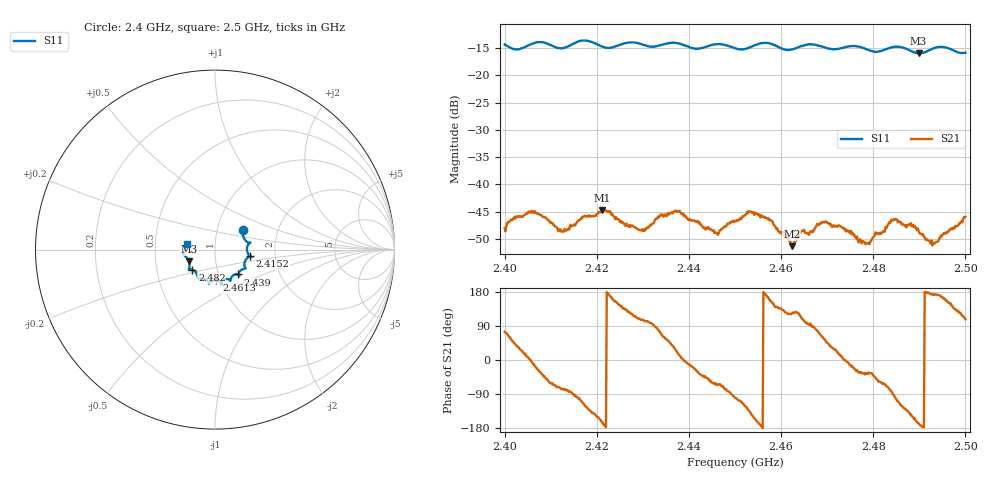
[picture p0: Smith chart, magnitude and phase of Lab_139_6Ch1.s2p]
# Hz S RI R 50
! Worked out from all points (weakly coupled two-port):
!   601 points, 2.4 GHz to 2.5 GHz, reference 50 ohm
!   highest |S21| = -44.71 dB at 2.4212 GHz (marker M1); lowest = -51.3 dB at 2.4623 GHz (marker M2)
!   lowest |S11| = -15.9 dB at 2.4898 GHz (marker M3), VSWR 1.38, Z = 37 - j5.03 ohm
!   |S11| at or under -10 dB: start of sweep to end of sweep
!   S12 and S22 are empty: the file has one direction only
!   S11 on the Smith chart (normalised r, x): 2.4 GHz: 1.33, +0.31; 2.4152 GHz: 1.48, -0.11; 2.439 GHz: 1.24, -0.36; 2.4613 GHz: 0.96, -0.34; 2.482 GHz: 0.76, -0.18; 2.5 GHz: 0.72, +0.05
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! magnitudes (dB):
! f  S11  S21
! 2.4 GHz  -14.3  -48.0
! 2.4057 GHz  -14.3  -45.2
! 2.4122 GHz  -15.0  -48.3
! 2.4152 GHz  -14.1  -47.5
! 2.4167 GHz  -13.6  -46.4
! 2.4212 GHz  -14.7  -44.7
! 2.4295 GHz  -14.2  -48.4
! 2.4333 GHz  -14.5  -46.2
! 2.439 GHz  -14.5  -45.5
! 2.446 GHz  -14.3  -48.9
! 2.45 GHz  -15.0  -46.8
! 2.4535 GHz  -14.7  -45.0
! 2.4613 GHz  -15.3  -49.9
! 2.4623 GHz  -15.2  -51.3
! 2.4667 GHz  -14.3  -48.6
! 2.4697 GHz  -14.9  -46.8
! 2.4787 GHz  -15.2  -50.8
! 2.482 GHz  -15.4  -48.8
! 2.4833 GHz  -15.0  -47.3
! 2.4898 GHz  -15.9  -48.5
! 2.4933 GHz  -14.9  -50.9
! 2.5 GHz  -15.8  -46.0
